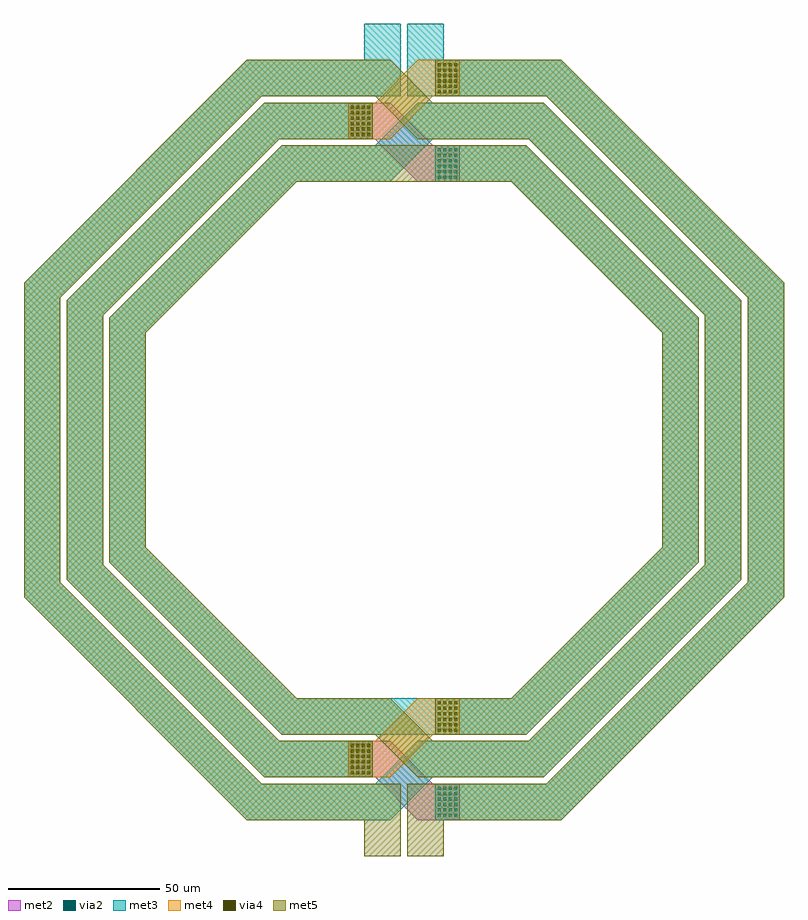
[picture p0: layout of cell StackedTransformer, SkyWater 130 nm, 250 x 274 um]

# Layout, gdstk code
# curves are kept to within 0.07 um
import gdstk
lib = gdstk.Library(unit=1e-6, precision=1e-09)
def R(c, l, rs):  # rectangles x0, y0, x1, y1
    for r in rs: c.add(gdstk.rectangle(r[:2], r[2:], *l))
def A(c, l, x, y, w, h, nx, ny, dx, dy):  # array of equal rectangles
    R(c, l, [(x+i*dx, y+j*dy, x+i*dx+w, y+j*dy+h) for i in range(nx) for j in range(ny)])
def P(c, l, *ps):  # polygons
    for p in ps: c.add(gdstk.Polygon(p, *l))
met2 = (69, 20)
via2 = (69, 44)
met3 = (70, 20)
met4 = (71, 20)
via4 = (71, 44)
met5 = (72, 20)

stackedtransformer = lib.new_cell('StackedTransformer')
P(stackedtransformer, met2, [(-18.315,-111),(-10.315,-111),(-9.486,-111),(4.515,-125.001),(10.314,-125.001),(18.315,-125.001),(18.315,-113),(10.315,-113),(9.486,-113),(-4.515,-98.999),(-10.314,-98.999),(-18.315,-98.999)],
  [(-18.315,99),(-10.315,99),(-9.486,99),(4.515,84.999),(10.314,84.999),(18.315,84.999),(18.315,97),(10.315,97),(9.486,97),(-4.515,111.001),(-10.314,111.001),(-18.315,111.001)])
A(stackedtransformer, via2, 11.113, -124.001, 1.001, 1.002, 4, 6, 1.8, 1.8)
A(stackedtransformer, via2, -17.514, -110.001, 1.001, 1.002, 4, 6, 1.8, 1.8)
A(stackedtransformer, via2, 11.113, 85.999, 1.001, 1.002, 4, 6, 1.8, 1.8)
A(stackedtransformer, via2, -17.514, 99.999, 1.001, 1.002, 4, 6, 1.8, 1.8)
P(stackedtransformer, met3, [(-125.001,-51.777),(-51.777,-125.001),(-4.515,-125.001),(9.486,-111),(45.978,-111.001),(111.001,-45.978),(111.001,45.978),(45.978,111.001),(4.515,111.001),(-9.486,97),(-40.179,97.001),(-97.001,40.179),(-97.001,-40.179),(-40.179,-97.001),(40.179,-97.001),(97.001,-40.179),(97.001,40.179),(40.179,97.001),(10.313,97.001),(10.313,85.001),(35.208,85.001),(85.001,35.209),(85.001,-35.209),(35.208,-85.001),(-35.208,-85.001),(-85.001,-35.209),(-85.001,35.209),(-35.208,85.001),(-4.515,84.999),(9.486,99),(41.007,99.001),(99.001,41.008),(99.001,-41.008),(41.007,-99.001),(4.515,-98.999),(-9.486,-113),(-46.806,-113.001),(-113.001,-46.807),(-113.001,46.807),(-46.806,113.001),(-0.999,112.999),(-0.999,137.001),(-13,137.001),(-13.001,125.001),(-51.777,125.001),(-125.001,51.777)],
  [(-111.001,-45.978),(-45.978,-111.001),(-10.313,-111.001),(-10.313,-99.001),(-41.007,-99.001),(-99.001,-41.008),(-99.001,41.008),(-41.007,99.001),(-10.313,99.001),(-10.313,111.001),(-45.978,111.001),(-111.001,45.978)],
  [(0.999,112.999),(46.806,113.001),(113.001,46.807),(113.001,-46.807),(46.806,-113.001),(10.313,-113.001),(10.313,-125.001),(51.777,-125.001),(125.001,-51.777),(125.001,51.777),(51.777,125.001),(13.001,125.001),(13,137.001),(0.999,137.001)])
P(stackedtransformer, met4, [(-18.315,-99),(-18.315,-111.001),(-10.314,-111.001),(-4.515,-111.001),(9.486,-97),(10.315,-97),(18.315,-97),(18.315,-84.999),(10.314,-84.999),(4.515,-84.999),(-9.486,-99),(-10.315,-99)],
  [(-18.315,111),(-18.315,98.999),(-10.314,98.999),(-4.515,98.999),(9.486,113),(10.315,113),(18.315,113),(18.315,125.001),(10.314,125.001),(4.515,125.001),(-9.486,111),(-10.315,111)])
A(stackedtransformer, via4, -17.514, -110.001, 1.001, 1.002, 4, 6, 1.8, 1.8)
A(stackedtransformer, via4, 11.113, -96.001, 1.001, 1.002, 4, 6, 1.8, 1.8)
A(stackedtransformer, via4, -17.514, 99.999, 1.001, 1.002, 4, 6, 1.8, 1.8)
A(stackedtransformer, via4, 11.113, 113.999, 1.001, 1.002, 4, 6, 1.8, 1.8)
P(stackedtransformer, met5, [(-125.001,-51.777),(-51.777,-125.001),(-13.001,-125.001),(-13,-137.001),(-0.999,-137.001),(-0.999,-112.999),(-46.806,-113.001),(-113.001,-46.807),(-113.001,46.807),(-46.806,113.001),(-9.486,113),(4.515,98.999),(41.007,99.001),(99.001,41.008),(99.001,-41.008),(41.007,-99.001),(9.486,-99),(-4.515,-84.999),(-35.208,-85.001),(-85.001,-35.209),(-85.001,35.209),(-35.208,85.001),(35.208,85.001),(85.001,35.209),(85.001,-35.209),(35.208,-85.001),(10.313,-85.001),(10.313,-97.001),(40.179,-97.001),(97.001,-40.179),(97.001,40.179),(40.179,97.001),(-40.179,97.001),(-97.001,40.179),(-97.001,-40.179),(-40.179,-97.001),(-9.486,-97),(4.515,-111.001),(45.978,-111.001),(111.001,-45.978),(111.001,45.978),(45.978,111.001),(9.486,111),(-4.515,125.001),(-51.777,125.001),(-125.001,51.777)],
  [(-111.001,-45.978),(-45.978,-111.001),(-10.313,-111.001),(-10.313,-99.001),(-41.007,-99.001),(-99.001,-41.008),(-99.001,41.008),(-41.007,99.001),(-10.313,99.001),(-10.313,111.001),(-45.978,111.001),(-111.001,45.978)],
  [(0.999,-137.001),(13,-137.001),(13.001,-125.001),(51.777,-125.001),(125.001,-51.777),(125.001,51.777),(51.777,125.001),(10.313,125.001),(10.313,113.001),(46.806,113.001),(113.001,46.807),(113.001,-46.807),(46.806,-113.001),(0.999,-112.999)])

lib.write_gds('StackedTransformer.gds')
